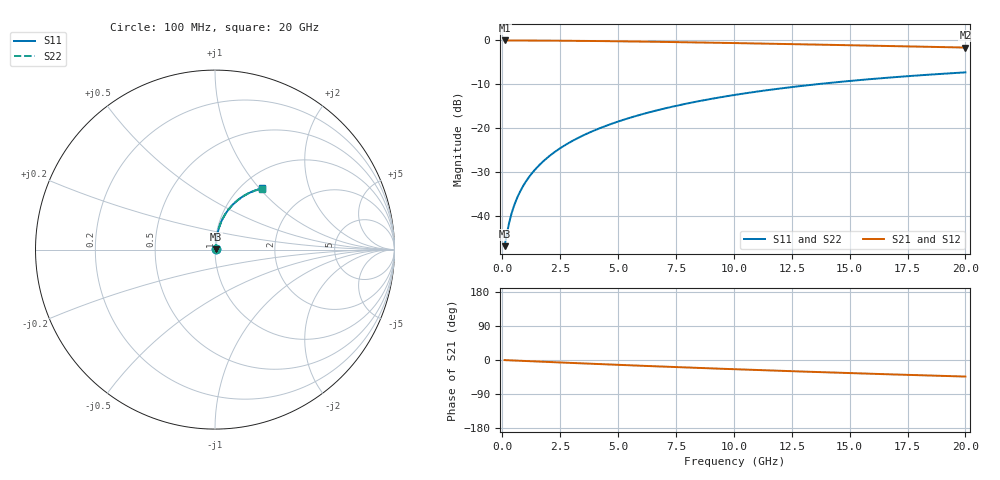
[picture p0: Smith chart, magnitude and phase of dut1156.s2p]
! Touchstone file exported from HFSS 2024.1.0
!  File:  C:/UserFiles/LocalFiles/RDL_TSV_Batchsim/temp_RDL_bottom_1156_1780056244.aedt
!  Generated:  08:06:39 PM May 29, 2026
!  Design:  RDL_bottom
!  Project:  temp_RDL_bottom_1156_1780056244
!  Setup:  Setup1
!  Solution:  Sweep
! Variables:
!  dtsv = 10.80580581um
!  hbump = 3um
!  htsv = 94.87um
!  ldown = 575.78um
!  lrdl = 100um
!  p = 40
!  p1 = 54.31um
!  rhole = 1um
!  t = 450um
!  tdown = 2.99um
!  trdl = 3.915915916um
!  wdown = 19.24um
!  wrdl = 20um
# GHz S MA R 50.000000
! Terminal data exported
! Port[1] = RDL1_T1
! Port[2] = RDL1_T2
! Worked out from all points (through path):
!   200 points, 100 MHz to 20 GHz, reference 50 ohm
!   highest |S21| = -0.03 dB at 100 MHz (marker M1); lowest = -1.6 dB at 20 GHz (marker M2)
!   group delay of S21, straight-line fit = 6.05 ps
!   lowest |S11| = -46.9 dB at 100 MHz (marker M3), VSWR 1.01, Z = 50.4 + j0.253 ohm
!   |S11| at or under -10 dB: start of sweep to 13.61 GHz
!   |S22| runs from -46.9 to -7.3 dB; largest |S21 - S12| = 5.4e-15
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0.1  0.004498 33.9  0.9963 -0.3  0.9963 -0.3  0.004497 33.9
! Gamma 0 0 0 0
! Port Impedance 50 0 50 0
0.2  0.006291 52.3  0.9961 -0.5  0.9961 -0.5  0.006291 52.3
0.3  0.008403 61.5  0.996 -0.8  0.996 -0.8  0.008403 61.5
0.4  0.0106 66.8  0.9958 -1.1  0.9958 -1.1  0.0106 66.8
0.5  0.01283 70.3  0.9956 -1.3  0.9956 -1.3  0.01283 70.3
0.6  0.01507 72.7  0.9954 -1.6  0.9954 -1.6  0.01507 72.7
0.8  0.01956 75.9  0.995 -2.1  0.995 -2.1  0.01956 75.9
1.1  0.02637 78.6  0.9944 -2.9  0.9944 -2.9  0.02637 78.6
1.3  0.03094 79.7  0.9939 -3.4  0.9939 -3.4  0.03094 79.7
1.6  0.03785 80.8  0.9931 -4.2  0.9931 -4.2  0.03785 80.8
2.1  0.04947 81.7  0.9914 -5.5  0.9914 -5.5  0.04947 81.7
2.7  0.06355 81.9  0.989 -7.0  0.989 -7.0  0.06354 81.9
3.5  0.08251 81.6  0.9849 -9.1  0.9849 -9.1  0.0825 81.6
4.2  0.09925 81.0  0.9806 -10.8  0.9806 -10.8  0.09924 81.0
5  0.1185 80.0  0.9751 -12.8  0.9751 -12.8  0.1185 80.0
5.9  0.1403 78.7  0.9682 -14.9  0.9682 -14.9  0.1402 78.7
6.8  0.162 77.2  0.9607 -17.1  0.9607 -17.1  0.162 77.2
8.4  0.2003 74.3  0.9462 -20.7  0.9462 -20.7  0.2002 74.3
10.1  0.2399 71.0  0.9296 -24.5  0.9296 -24.5  0.2398 71.0
13.4  0.3119 64.5  0.8958 -31.4  0.8958 -31.4  0.3118 64.5
16.7  0.3758 58.2  0.8611 -37.8  0.8611 -37.8  0.3756 58.1
20  0.431 52.3  0.827 -43.7  0.827 -43.7  0.4307 52.2
